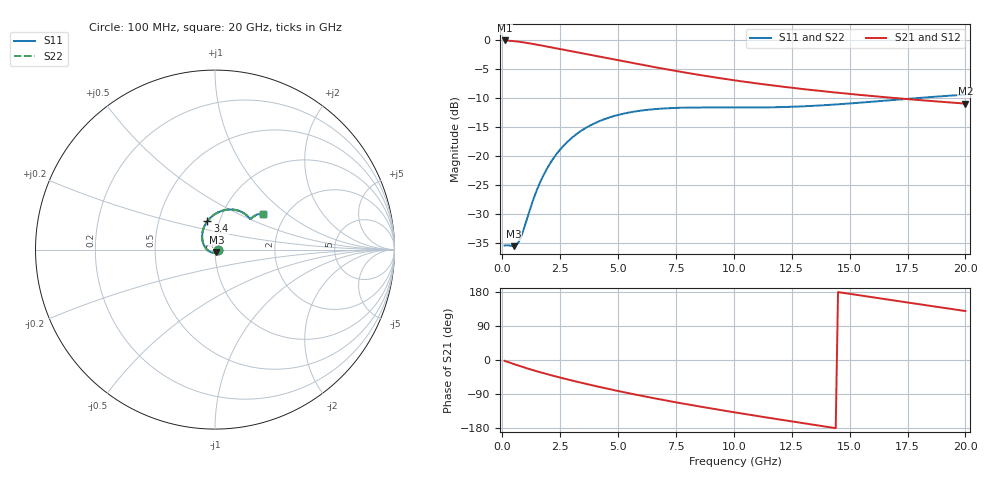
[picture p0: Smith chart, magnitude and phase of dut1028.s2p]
! Touchstone file exported from HFSS 2024.1.0
!  File:  C:/UserFiles/LocalFiles/RDL_TSV_Batchsim/temp_RDL_TSV_1028_1780083073.aedt
!  Generated:  03:45:07 AM May 30, 2026
!  Design:  RDL_TSV
!  Project:  temp_RDL_TSV_1028_1780083073
!  Setup:  Setup1
!  Solution:  Sweep
! Variables:
!  dtsv = 11.96um
!  hbump = 3um
!  htsv = 89.73um
!  ldown = 168.41um
!  lrdl = 662.13um
!  p = 40
!  p1 = 56.3um
!  rhole = 10um
!  subl = 3153.75um
!  t = 450um
!  tdown = 2.13um
!  trdl = 2.71um
!  viad = 10um
!  wdown = 21.49um
!  wrdl = 28.13um
!  xbump = 18um
# GHz S MA R 50.000000
! Terminal data exported
! Port[1] = TM1_1_T1
! Port[2] = TM1_4_T1
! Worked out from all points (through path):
!   200 points, 100 MHz to 20 GHz, reference 50 ohm
!   highest |S21| = -0.15 dB at 100 MHz (marker M1); lowest = -11.0 dB at 20 GHz (marker M2)
!   group delay of S21, straight-line fit = 30.1 ps
!   lowest |S11| = -35.6 dB at 500 MHz (marker M3), VSWR 1.03, Z = 50.7 - j1.51 ohm
!   |S11| at or under -10 dB: start of sweep to 18.17 GHz
!   |S22| runs from -35.6 to -9.5 dB; largest |S21 - S12| = 2.2e-14
!   S11 on the Smith chart (normalised r, x): 100 MHz: 1.03, -0.01; 3.4 GHz: 0.87, +0.28; 20 GHz: 1.55, +0.70
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0.1  0.01681 -9.6  0.9824 -2.2  0.9824 -2.2  0.01682 -9.6
! Gamma 0 0 0 0
! Port Impedance 50 0 50 0
0.5  0.01661 -63.6  0.9692 -10.7  0.9692 -10.7  0.01661 -63.6
0.7  0.01793 -98.6  0.9589 -14.8  0.9589 -14.8  0.01793 -98.5
0.8  0.01976 -115.5  0.9531 -16.8  0.9531 -16.8  0.01976 -115.5
1.3  0.03982 -173.6  0.9187 -26.3  0.9187 -26.3  0.03981 -173.6
1.5  0.05097 172.3  0.9036 -29.9  0.9036 -29.9  0.05094 172.3
1.7  0.06295 160.9  0.8882 -33.4  0.8882 -33.4  0.06292 161.0
2  0.08168 147.0  0.8652 -38.4  0.8652 -38.4  0.08165 147.1
2.6  0.119 125.9  0.8203 -48.0  0.8203 -48.0  0.119 125.9
3.4  0.1634 105.3  0.7644 -59.9  0.7644 -59.9  0.1633 105.3
3.5  0.1683 103.1  0.7577 -61.4  0.7577 -61.4  0.1682 103.1
4.2  0.1985 89.7  0.7123 -71.1  0.7123 -71.1  0.1985 89.7
4.9  0.2215 78.8  0.6695 -80.5  0.6695 -80.5  0.2215 78.8
5.8  0.2414 67.7  0.6187 -91.9  0.6187 -91.9  0.2414 67.7
6.8  0.2537 58.4  0.568 -103.7  0.568 -103.7  0.2537 58.3
8.4  0.2599 48.5  0.5 -121.4  0.5 -121.4  0.26 48.4
10.1  0.2596 43.1  0.4435 -138.8  0.4435 -138.8  0.2597 42.9
11.7  0.261 41.2  0.4019 -154.4  0.4019 -154.4  0.261 41.0
13.4  0.2685 40.9  0.367 -170.5  0.367 -170.5  0.2682 40.6
16.7  0.2995 40.1  0.3167 159.0  0.3167 159.0  0.2987 39.9
18.4  0.3188 38.6  0.2969 143.6  0.2969 143.6  0.3176 38.4
20  0.3354 36.6  0.2809 129.2  0.2809 129.2  0.3338 36.3
